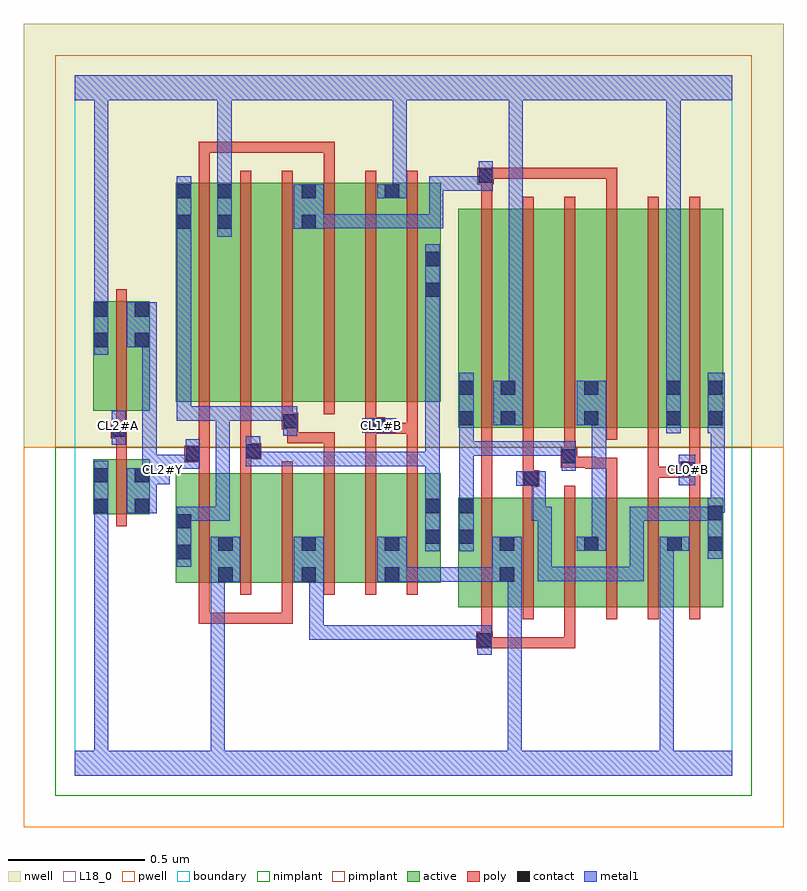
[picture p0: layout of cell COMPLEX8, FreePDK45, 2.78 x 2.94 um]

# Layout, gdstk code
import gdstk
lib = gdstk.Library(unit=1e-6, precision=1e-09)
def R(c, l, rs):  # rectangles x0, y0, x1, y1
    for r in rs: c.add(gdstk.rectangle(r[:2], r[2:], *l))
def A(c, l, x, y, w, h, nx, ny, dx, dy):  # array of equal rectangles
    R(c, l, [(x+i*dx, y+j*dy, x+i*dx+w, y+j*dy+h) for i in range(nx) for j in range(ny)])
active = (1, 0)
pwell = (2, 0)
nwell = (3, 0)
nimplant = (4, 0)
pimplant = (5, 0)
poly = (9, 0)
contact = (10, 0)
metal1 = (11, 0)
L18_0 = (18, 0)
boundary = (235, 0)

complex8 = lib.new_cell('COMPLEX8')
A(complex8, active, 0.52, 0.706, 0.06, 0.4, 3, 1, 0.304, 0)
R(complex8, active, [(1.4,0.616,1.608,1.016), (1.548,0.616,1.732,1.016), (1.732,0.616,1.916,1.016), (1.856,0.616,2.036,1.016), (2.036,0.616,2.22,1.016), (2.16,0.616,2.368,1.016), (0.368,0.706,0.58,1.106), (0.52,0.706,0.7,1.106), (0.7,0.706,0.884,1.106), (0.824,0.706,1.004,1.106), (1.004,0.706,1.188,1.106), (1.128,0.706,1.336,1.106), (1.548,0.706,1.608,0.878), (0.368,0.756,0.428,1.106), (1.276,0.756,1.336,1.106), (1.4,0.756,1.46,1.016), (1.856,0.756,1.916,0.878), (2.16,0.756,2.22,0.878), (2.308,0.756,2.368,1.016), (0.066,0.956,0.126,1.156), (0.066,0.956,0.274,1.156), (0.214,0.956,0.274,1.156), (1.4,1.272,1.46,2.044), (1.4,1.272,1.612,2.072), (1.552,1.272,1.612,2.044), (1.552,1.272,1.732,2.072), (1.732,1.272,1.916,2.072), (1.856,1.272,1.916,2.044), (1.856,1.272,2.036,2.072), (2.036,1.272,2.216,2.072), (2.156,1.272,2.216,2.044), (2.156,1.272,2.368,2.072), (2.308,1.272,2.368,2.044), (0.066,1.334,0.274,1.734), (0.066,1.334,0.126,1.734), (0.214,1.334,0.274,1.734), (0.368,1.366,0.576,2.166), (0.368,1.366,0.428,2.166), (0.516,1.366,0.7,2.166), (0.7,1.366,0.884,2.166), (0.824,1.366,1.004,2.166), (1.004,1.366,1.188,2.166), (1.128,1.366,1.336,2.166), (1.276,1.366,1.336,2.044), (0.516,1.65,0.576,2.166), (0.824,1.65,0.884,2.166), (1.128,1.686,1.188,2.166)])
R(complex8, pwell, [(-0.188,-0.188,2.588,1.2)])
R(complex8, nwell, [(-0.188,1.2,2.588,2.748)])
R(complex8, nimplant, [(-0.072,-0.072,2.472,1.2)])
R(complex8, pimplant, [(-0.072,1.2,2.472,2.632)])
A(complex8, poly, 1.484, 0.572, 0.04, 0.488, 6, 1, 0.152, 0)
A(complex8, poly, 0.452, 0.662, 0.04, 0.488, 6, 1, 0.152, 0)
A(complex8, poly, 1.484, 1.228, 0.04, 0.888, 6, 1, 0.152, 0)
A(complex8, poly, 0.452, 1.322, 0.04, 0.888, 6, 1, 0.152, 0)
R(complex8, poly, [(1.466,0.466,1.526,0.526), (1.486,0.466,1.526,0.506), (1.486,0.466,1.526,0.506), (1.486,0.466,1.706,0.506), (1.666,0.466,1.706,0.506), (1.666,0.466,1.706,0.506), (1.666,0.466,1.706,0.506), (1.666,0.466,1.828,0.506), (1.788,0.466,1.828,0.506), (1.788,0.466,1.828,0.612), (1.484,0.486,1.524,0.612), (0.452,0.556,0.492,0.596), (0.452,0.556,0.492,0.596), (0.452,0.556,0.492,0.596), (0.452,0.556,0.492,0.702), (0.452,0.556,0.678,0.596), (0.638,0.556,0.678,0.596), (0.638,0.556,0.678,0.596), (0.638,0.556,0.678,0.596), (0.638,0.556,0.796,0.596), (0.756,0.556,0.796,0.596), (0.756,0.556,0.796,0.702), (0.15,0.912,0.19,1.2), (1.484,1.02,1.524,1.096), (1.636,1.02,1.676,1.096), (1.94,1.02,1.98,1.162), (2.092,1.02,2.132,1.13), (2.244,1.02,2.284,1.13), (1.484,1.056,1.524,1.096), (1.484,1.056,1.524,1.096), (1.484,1.056,1.524,1.096), (1.484,1.056,1.524,1.268), (1.636,1.056,1.696,1.116), (1.636,1.076,1.676,1.116), (1.636,1.076,1.676,1.116), (1.636,1.076,1.676,1.268), (2.092,1.09,2.132,1.13), (2.092,1.09,2.132,1.13), (2.092,1.09,2.132,1.13), (2.092,1.09,2.25,1.13), (2.092,1.09,2.132,1.268), (2.21,1.09,2.25,1.13), (2.21,1.09,2.25,1.13), (2.21,1.09,2.284,1.15), (2.244,1.09,2.284,1.13), (2.244,1.09,2.284,1.13), (0.452,1.11,0.492,1.186), (0.604,1.11,0.644,1.196), (0.908,1.11,0.948,1.256), (1.06,1.11,1.1,1.29), (1.212,1.11,1.252,1.29), (2.244,1.11,2.284,1.268), (1.864,1.122,1.98,1.162), (1.864,1.122,1.904,1.166), (1.94,1.122,1.98,1.162), (1.94,1.122,1.98,1.162), (1.94,1.122,1.98,1.162), (1.774,1.126,1.834,1.198), (1.794,1.126,1.904,1.166), (0.4,1.146,0.492,1.206), (0.604,1.156,0.68,1.216), (1.788,1.158,1.828,1.268), (0.15,1.16,0.19,1.274), (0.452,1.166,0.492,1.206), (0.452,1.166,0.492,1.206), (0.452,1.166,0.492,1.362), (0.604,1.176,0.644,1.216), (0.604,1.176,0.644,1.216), (0.604,1.176,0.644,1.362), (0.776,1.216,0.816,1.256), (0.776,1.216,0.948,1.256), (0.776,1.216,0.816,1.306), (0.908,1.216,0.948,1.256), (0.13,1.234,0.19,1.294), (0.15,1.234,0.19,1.274), (0.15,1.234,0.19,1.274), (1.06,1.25,1.1,1.29), (1.06,1.25,1.1,1.29), (1.06,1.25,1.134,1.31), (1.094,1.25,1.252,1.29), (1.212,1.25,1.252,1.29), (1.212,1.25,1.252,1.29), (1.212,1.25,1.252,1.29), (1.212,1.25,1.252,1.29), (1.212,1.25,1.252,1.29), (1.212,1.25,1.252,1.362), (0.15,1.254,0.19,1.33), (0.756,1.266,0.816,1.326), (0.776,1.266,0.816,1.306), (0.776,1.266,0.816,1.306), (1.06,1.27,1.1,1.362), (0.756,1.286,0.796,1.362), (0.15,1.29,0.19,1.778), (1.484,2.076,1.524,2.202), (1.94,2.076,1.98,2.222), (1.47,2.162,1.53,2.222), (0.452,2.17,0.492,2.316), (0.908,2.17,0.948,2.316), (1.49,2.182,1.53,2.222), (1.49,2.182,1.53,2.222), (1.49,2.182,1.692,2.222), (1.652,2.182,1.692,2.222), (1.652,2.182,1.692,2.222), (1.652,2.182,1.692,2.222), (1.652,2.182,1.812,2.222), (1.772,2.182,1.812,2.222), (1.772,2.182,1.98,2.222), (1.94,2.182,1.98,2.222), (1.94,2.182,1.98,2.222), (1.94,2.182,1.98,2.222), (0.452,2.276,0.492,2.316), (0.452,2.276,0.492,2.316), (0.452,2.276,0.492,2.316), (0.452,2.276,0.656,2.316), (0.616,2.276,0.656,2.316), (0.616,2.276,0.656,2.316), (0.616,2.276,0.656,2.316), (0.616,2.276,0.784,2.316), (0.744,2.276,0.784,2.316), (0.744,2.276,0.948,2.316), (0.908,2.276,0.948,2.316), (0.908,2.276,0.948,2.316), (0.908,2.276,0.948,2.316)])
A(complex8, contact, 0.524, 0.71, 0.052, 0.052, 3, 2, 0.304, 0.112)
R(complex8, contact, [(1.47,0.47,1.522,0.522), (1.552,0.71,1.604,0.762), (0.372,0.792,0.424,0.844), (1.552,0.822,1.604,0.874), (1.86,0.822,1.912,0.874), (2.164,0.822,2.216,0.874), (2.312,0.822,2.364,0.874), (1.28,0.848,1.332,0.9), (1.404,0.848,1.456,0.9), (0.372,0.904,0.424,0.956), (2.312,0.934,2.364,0.986), (0.07,0.96,0.122,1.012), (0.218,0.96,0.27,1.012), (1.28,0.96,1.332,1.012), (1.404,0.96,1.456,1.012), (1.64,1.06,1.692,1.112), (0.07,1.072,0.122,1.124), (0.218,1.072,0.27,1.124), (2.214,1.094,2.266,1.146), (1.778,1.142,1.83,1.194), (0.404,1.15,0.456,1.202), (0.624,1.16,0.676,1.212), (0.134,1.238,0.186,1.29), (1.078,1.254,1.13,1.306), (0.76,1.27,0.812,1.322), (1.404,1.28,1.456,1.332), (1.556,1.28,1.608,1.332), (1.86,1.28,1.912,1.332), (2.16,1.28,2.212,1.332), (2.312,1.28,2.364,1.332), (1.404,1.392,1.456,1.444), (1.556,1.392,1.608,1.444), (1.86,1.392,1.912,1.444), (2.16,1.392,2.212,1.444), (2.312,1.392,2.364,1.444), (0.07,1.566,0.122,1.618), (0.218,1.566,0.27,1.618), (0.07,1.678,0.122,1.73), (0.218,1.678,0.27,1.73), (1.28,1.75,1.332,1.802), (1.28,1.862,1.332,1.914), (0.372,1.998,0.424,2.05), (0.52,1.998,0.572,2.05), (0.828,1.998,0.88,2.05), (0.372,2.11,0.424,2.162), (0.52,2.11,0.572,2.162), (0.828,2.11,0.88,2.162), (1.132,2.11,1.184,2.162), (1.474,2.166,1.526,2.218)])
A(complex8, metal1, 0.496, 0.71, 0.108, 0.164, 3, 1, 0.304, 0)
A(complex8, metal1, 0.746, 1.132, 0.052, 0.052, 3, 1, 0.11, 0)
R(complex8, metal1, [(0,0,2.4,0.092), (0.07,0.04,0.122,0.092), (0.07,0.04,0.122,0.092), (0.07,0.04,0.122,0.984), (0.496,0.04,0.548,0.092), (0.496,0.04,0.548,0.092), (0.496,0.04,0.548,0.092), (0.496,0.04,0.548,0.092), (0.496,0.04,0.548,0.092), (0.496,0.04,0.548,0.092), (0.496,0.04,0.548,0.762), (1.58,0.04,1.632,0.092), (1.58,0.04,1.632,0.092), (1.58,0.04,1.632,0.092), (1.58,0.04,1.632,0.092), (1.58,0.04,1.632,0.092), (1.58,0.04,1.632,0.092), (1.58,0.04,1.632,0.092), (1.58,0.04,1.632,0.092), (1.58,0.04,1.632,0.762), (2.136,0.04,2.188,0.092), (2.136,0.04,2.188,0.092), (2.136,0.04,2.188,0.092), (2.136,0.04,2.188,0.092), (2.136,0.04,2.188,0.092), (2.136,0.04,2.188,0.092), (2.136,0.04,2.188,0.874), (1.47,0.442,1.522,0.55), (0.856,0.498,0.908,0.55), (0.856,0.498,0.908,0.55), (0.856,0.498,0.908,0.55), (0.856,0.498,1.046,0.55), (0.856,0.498,0.908,0.762), (0.994,0.498,1.046,0.55), (0.994,0.498,1.046,0.55), (0.994,0.498,1.046,0.55), (0.994,0.498,1.222,0.55), (1.17,0.498,1.222,0.55), (1.17,0.498,1.222,0.55), (1.17,0.498,1.222,0.55), (1.17,0.498,1.346,0.55), (1.294,0.498,1.346,0.55), (1.294,0.498,1.346,0.55), (1.294,0.498,1.346,0.55), (1.294,0.498,1.522,0.55), (0.496,0.71,0.548,0.762), (0.496,0.71,0.548,0.762), (0.496,0.71,0.548,0.762), (0.496,0.71,0.548,0.762), (0.496,0.71,0.548,0.762), (0.496,0.71,0.548,0.762), (1.16,0.71,1.212,0.762), (1.16,0.71,1.212,0.762), (1.16,0.71,1.332,0.762), (1.28,0.71,1.332,0.762), (1.28,0.71,1.456,0.762), (1.404,0.71,1.456,0.762), (1.404,0.71,1.456,0.762), (1.404,0.71,1.456,0.762), (1.404,0.71,1.576,0.762), (1.524,0.71,1.632,0.874), (1.58,0.71,1.632,0.762), (1.58,0.71,1.632,0.762), (1.58,0.71,1.632,0.762), (1.58,0.71,1.632,0.762), (1.69,0.712,1.742,0.764), (1.69,0.712,1.742,0.984), (1.69,0.712,1.858,0.764), (1.806,0.712,1.858,0.764), (1.806,0.712,1.968,0.764), (1.916,0.712,1.968,0.764), (1.916,0.712,1.968,0.764), (1.916,0.712,1.968,0.764), (1.916,0.712,2.078,0.764), (2.026,0.712,2.078,0.764), (2.026,0.712,2.078,0.984), (0.372,0.764,0.424,0.984), (2.312,0.794,2.364,1.014), (1.28,0.82,1.332,1.04), (1.404,0.82,1.456,1.04), (1.832,0.822,1.94,0.874), (1.888,0.822,1.94,0.874), (1.888,0.822,1.94,0.874), (1.888,0.822,1.94,0.874), (1.888,0.822,1.94,0.874), (1.888,0.822,1.94,1.332), (2.136,0.822,2.188,0.874), (2.136,0.822,2.188,0.874), (2.136,0.822,2.188,0.874), (2.136,0.822,2.188,0.874), (2.136,0.822,2.188,0.874), (2.136,0.822,2.188,0.874), (2.136,0.822,2.244,0.874), (0.07,0.932,0.122,0.984), (0.07,0.932,0.122,0.984), (0.07,0.932,0.122,0.984), (0.07,0.932,0.122,0.984), (0.07,0.932,0.122,0.984), (0.07,0.932,0.122,0.984), (0.07,0.932,0.122,0.984), (0.07,0.932,0.122,0.984), (0.07,0.932,0.122,0.984), (0.07,0.932,0.122,0.984), (0.07,0.932,0.122,0.984), (0.07,0.932,0.122,0.984), (0.07,0.932,0.122,0.984), (0.07,0.932,0.122,0.984), (0.07,0.932,0.122,1.152), (0.372,0.932,0.566,0.984), (0.514,0.932,0.566,0.984), (0.514,0.932,0.566,0.984), (0.514,0.932,0.566,0.984), (0.514,0.932,0.566,0.984), (0.514,0.932,0.566,0.984), (0.514,0.932,0.566,1.35), (1.668,0.932,1.72,1.112), (1.668,0.932,1.742,0.984), (2.026,0.932,2.078,0.984), (2.026,0.932,2.078,0.984), (2.026,0.932,2.078,0.984), (2.026,0.932,2.188,0.984), (2.136,0.932,2.188,0.984), (2.136,0.932,2.364,0.984), (2.312,0.932,2.364,0.984), (2.312,0.932,2.364,0.984), (0.19,0.96,0.298,1.124), (2.312,0.962,2.364,1.014), (2.312,0.962,2.374,1.014), (2.322,0.962,2.374,1.304), (2.322,0.962,2.374,1.014), (2.322,0.962,2.374,1.014), (1.28,0.988,1.332,1.184), (1.404,0.988,1.456,1.222), (1.612,1.06,1.72,1.112), (1.668,1.06,1.72,1.112), (1.668,1.06,1.72,1.112), (2.206,1.062,2.266,1.174), (0.246,1.066,0.346,1.174), (0.246,1.072,0.298,1.124), (1.778,1.114,1.83,1.222), (0.246,1.122,0.298,1.174), (0.246,1.122,0.298,1.174), (0.246,1.122,0.298,1.618), (0.294,1.122,0.346,1.174), (0.294,1.122,0.346,1.174), (0.294,1.122,0.456,1.174), (0.404,1.122,0.456,1.23), (0.624,1.132,0.676,1.184), (0.624,1.132,0.676,1.184), (0.624,1.132,0.676,1.24), (0.624,1.132,0.798,1.184), (0.746,1.132,0.798,1.184), (0.746,1.132,0.798,1.184), (0.746,1.132,0.908,1.184), (0.856,1.132,1.018,1.184), (0.966,1.132,1.018,1.184), (0.966,1.132,1.018,1.184), (0.966,1.132,1.222,1.184), (1.17,1.132,1.222,1.184), (1.17,1.132,1.222,1.184), (1.17,1.132,1.222,1.184), (1.17,1.132,1.332,1.184), (1.28,1.132,1.332,1.184), (1.28,1.132,1.332,1.774), (1.404,1.17,1.456,1.222), (1.404,1.17,1.456,1.222), (1.404,1.17,1.456,1.222), (1.404,1.17,1.456,1.222), (1.404,1.17,1.456,1.222), (1.404,1.17,1.61,1.222), (1.404,1.17,1.456,1.304), (1.558,1.17,1.61,1.222), (1.558,1.17,1.72,1.222), (1.668,1.17,1.72,1.222), (1.668,1.17,1.72,1.222), (1.668,1.17,1.72,1.222), (1.668,1.17,1.83,1.222), (0.134,1.21,0.186,1.334), (0.76,1.242,0.812,1.35), (1.404,1.252,1.456,1.472), (2.16,1.252,2.212,1.472), (2.312,1.252,2.374,1.472), (1.05,1.254,1.174,1.306), (1.528,1.28,1.636,1.444), (1.832,1.28,1.94,1.444), (0.372,1.298,0.424,1.35), (0.372,1.298,0.566,1.35), (0.372,1.298,0.424,2.022), (0.514,1.298,0.566,1.35), (0.514,1.298,0.566,1.35), (0.514,1.298,0.566,1.35), (0.514,1.298,0.688,1.35), (0.636,1.298,0.688,1.35), (0.636,1.298,0.688,1.35), (0.636,1.298,0.688,1.35), (0.636,1.298,0.812,1.35), (1.584,1.392,1.636,1.444), (1.584,1.392,1.636,1.444), (1.584,1.392,1.636,1.444), (1.584,1.392,1.636,1.444), (1.584,1.392,1.636,1.444), (1.584,1.392,1.636,1.444), (1.584,1.392,1.636,2.52), (2.16,1.42,2.212,1.472), (2.16,1.42,2.212,1.472), (2.16,1.42,2.212,1.472), (2.16,1.42,2.212,1.472), (2.16,1.42,2.212,1.472), (2.16,1.42,2.212,1.472), (2.16,1.42,2.212,1.472), (2.16,1.42,2.212,1.472), (2.16,1.42,2.212,2.52), (0.07,1.538,0.122,1.758), (0.19,1.566,0.298,1.73), (0.07,1.706,0.122,1.758), (0.07,1.706,0.122,1.758), (0.07,1.706,0.122,1.758), (0.07,1.706,0.122,1.758), (0.07,1.706,0.122,2.52), (1.28,1.722,1.332,1.774), (1.28,1.722,1.332,1.774), (1.28,1.722,1.332,1.942), (0.372,1.97,0.424,2.19), (0.52,1.97,0.572,2.19), (0.8,1.998,0.908,2.162), (0.856,2,0.908,2.052), (0.856,2,0.908,2.052), (0.856,2,1.018,2.052), (0.966,2,1.018,2.052), (0.966,2,1.018,2.052), (0.966,2,1.018,2.052), (0.966,2,1.222,2.052), (1.17,2,1.222,2.052), (1.17,2,1.222,2.052), (1.17,2,1.222,2.052), (1.17,2,1.346,2.052), (1.294,2,1.346,2.052), (1.294,2,1.346,2.052), (1.294,2,1.346,2.052), (1.294,2,1.346,2.19), (1.104,2.11,1.212,2.162), (1.16,2.11,1.212,2.162), (1.16,2.11,1.212,2.162), (1.16,2.11,1.212,2.162), (1.16,2.11,1.212,2.162), (1.16,2.11,1.212,2.162), (1.16,2.11,1.212,2.162), (1.16,2.11,1.212,2.52), (0.52,2.138,0.572,2.19), (0.52,2.138,0.572,2.19), (0.52,2.138,0.572,2.52), (1.294,2.138,1.346,2.19), (1.294,2.138,1.346,2.19), (1.294,2.138,1.346,2.19), (1.294,2.138,1.526,2.19), (1.474,2.138,1.526,2.246), (0,2.468,2.4,2.56), (0.07,2.468,0.122,2.52), (0.07,2.468,0.122,2.52), (0.07,2.468,0.122,2.52), (0.07,2.468,0.122,2.52), (0.07,2.468,0.122,2.52), (0.07,2.468,0.122,2.52), (0.07,2.468,0.122,2.52), (0.07,2.468,0.122,2.52), (0.07,2.468,0.122,2.52), (0.07,2.468,0.122,2.52), (0.07,2.468,0.122,2.52), (0.07,2.468,0.122,2.52), (0.52,2.468,0.572,2.52), (0.52,2.468,0.572,2.52), (0.52,2.468,0.572,2.52), (0.52,2.468,0.572,2.52), (0.52,2.468,0.572,2.52), (0.52,2.468,0.572,2.52), (1.16,2.468,1.212,2.52), (1.16,2.468,1.212,2.52), (1.584,2.468,1.636,2.52), (1.584,2.468,1.636,2.52)])
R(complex8, L18_0, [(0,0,2.4,0.092), (0.07,0.04,0.122,0.092), (0.07,0.04,0.122,0.092), (0.07,0.04,0.122,0.984), (0.496,0.04,0.548,0.092), (0.496,0.04,0.548,0.092), (0.496,0.04,0.548,0.092), (0.496,0.04,0.548,0.092), (0.496,0.04,0.548,0.092), (0.496,0.04,0.548,0.092), (0.496,0.04,0.548,0.762), (1.58,0.04,1.632,0.092), (1.58,0.04,1.632,0.092), (1.58,0.04,1.632,0.092), (1.58,0.04,1.632,0.092), (1.58,0.04,1.632,0.092), (1.58,0.04,1.632,0.092), (1.58,0.04,1.632,0.092), (1.58,0.04,1.632,0.092), (1.58,0.04,1.632,0.762), (2.136,0.04,2.188,0.092), (2.136,0.04,2.188,0.092), (2.136,0.04,2.188,0.092), (2.136,0.04,2.188,0.092), (2.136,0.04,2.188,0.092), (2.136,0.04,2.188,0.092), (2.136,0.04,2.188,0.874), (0.496,0.71,0.548,0.762), (0.496,0.71,0.548,0.762), (0.496,0.71,0.548,0.762), (0.496,0.71,0.548,0.762), (0.496,0.71,0.548,0.762), (0.496,0.71,0.548,0.762), (0.496,0.71,0.604,0.874), (1.104,0.71,1.212,0.874), (1.16,0.71,1.212,0.762), (1.16,0.71,1.212,0.762), (1.16,0.71,1.332,0.762), (1.28,0.71,1.332,0.762), (1.28,0.71,1.456,0.762), (1.404,0.71,1.456,0.762), (1.404,0.71,1.456,0.762), (1.404,0.71,1.456,0.762), (1.404,0.71,1.576,0.762), (1.524,0.71,1.632,0.874), (1.58,0.71,1.632,0.762), (1.58,0.71,1.632,0.762), (1.58,0.71,1.632,0.762), (1.58,0.71,1.632,0.762), (2.136,0.822,2.188,0.874), (2.136,0.822,2.188,0.874), (2.136,0.822,2.188,0.874), (2.136,0.822,2.188,0.874), (2.136,0.822,2.188,0.874), (2.136,0.822,2.188,0.874), (2.136,0.822,2.244,0.874), (0.07,0.932,0.122,0.984), (0.07,0.932,0.122,0.984), (0.07,0.932,0.122,0.984), (0.07,0.932,0.122,0.984), (0.07,0.932,0.122,0.984), (0.07,0.932,0.122,0.984), (0.07,0.932,0.122,0.984), (0.07,0.932,0.122,0.984), (0.07,0.932,0.122,0.984), (0.07,0.932,0.122,0.984), (0.07,0.932,0.122,0.984), (0.07,0.932,0.122,0.984), (0.07,0.932,0.122,0.984), (0.07,0.932,0.122,0.984), (0.07,0.932,0.122,1.152), (0.19,0.96,0.298,1.124), (2.206,1.062,2.266,1.174), (0.246,1.066,0.346,1.174), (0.246,1.072,0.298,1.124), (0.294,1.094,0.346,1.146), (2.214,1.094,2.266,1.146), (0.246,1.122,0.298,1.174), (0.246,1.122,0.298,1.174), (0.246,1.122,0.298,1.618), (0.294,1.122,0.346,1.174), (0.294,1.122,0.346,1.174), (0.294,1.122,0.456,1.174), (0.404,1.122,0.456,1.23), (0.134,1.21,0.186,1.334), (2.16,1.252,2.212,1.472), (0.134,1.254,0.186,1.306), (1.05,1.254,1.174,1.306), (1.094,1.254,1.146,1.306), (1.528,1.28,1.636,1.444), (1.584,1.392,1.636,1.444), (1.584,1.392,1.636,1.444), (1.584,1.392,1.636,1.444), (1.584,1.392,1.636,1.444), (1.584,1.392,1.636,1.444), (1.584,1.392,1.636,1.444), (1.584,1.392,1.636,2.52), (2.16,1.42,2.212,1.472), (2.16,1.42,2.212,1.472), (2.16,1.42,2.212,1.472), (2.16,1.42,2.212,1.472), (2.16,1.42,2.212,1.472), (2.16,1.42,2.212,1.472), (2.16,1.42,2.212,1.472), (2.16,1.42,2.212,1.472), (2.16,1.42,2.212,2.52), (0.07,1.538,0.122,1.758), (0.19,1.566,0.298,1.73), (0.07,1.706,0.122,1.758), (0.07,1.706,0.122,1.758), (0.07,1.706,0.122,1.758), (0.07,1.706,0.122,1.758), (0.07,1.706,0.122,2.52), (0.52,1.97,0.572,2.19), (1.104,2.11,1.212,2.162), (1.16,2.11,1.212,2.162), (1.16,2.11,1.212,2.162), (1.16,2.11,1.212,2.162), (1.16,2.11,1.212,2.162), (1.16,2.11,1.212,2.162), (1.16,2.11,1.212,2.162), (1.16,2.11,1.212,2.52), (0.52,2.138,0.572,2.19), (0.52,2.138,0.572,2.19), (0.52,2.138,0.572,2.52), (0,2.468,2.4,2.56), (0.07,2.468,0.122,2.52), (0.07,2.468,0.122,2.52), (0.07,2.468,0.122,2.52), (0.07,2.468,0.122,2.52), (0.07,2.468,0.122,2.52), (0.07,2.468,0.122,2.52), (0.07,2.468,0.122,2.52), (0.07,2.468,0.122,2.52), (0.07,2.468,0.122,2.52), (0.07,2.468,0.122,2.52), (0.07,2.468,0.122,2.52), (0.07,2.468,0.122,2.52), (0.52,2.468,0.572,2.52), (0.52,2.468,0.572,2.52), (0.52,2.468,0.572,2.52), (0.52,2.468,0.572,2.52), (0.52,2.468,0.572,2.52), (0.52,2.468,0.572,2.52), (1.16,2.468,1.212,2.52), (1.16,2.468,1.212,2.52), (1.584,2.468,1.636,2.52), (1.584,2.468,1.636,2.52)])
R(complex8, boundary, [(0,0,2.4,2.56)])
complex8.add(gdstk.Label('CL0#B', (2.24,1.12), layer=11, texttype=0))
complex8.add(gdstk.Label('CL1#B', (1.12,1.28), layer=11, texttype=0))
complex8.add(gdstk.Label('CL2#A', (0.16,1.28), layer=11, texttype=0))
complex8.add(gdstk.Label('CL2#Y', (0.32,1.12), layer=11, texttype=0))

lib.write_gds('COMPLEX8.gds')
